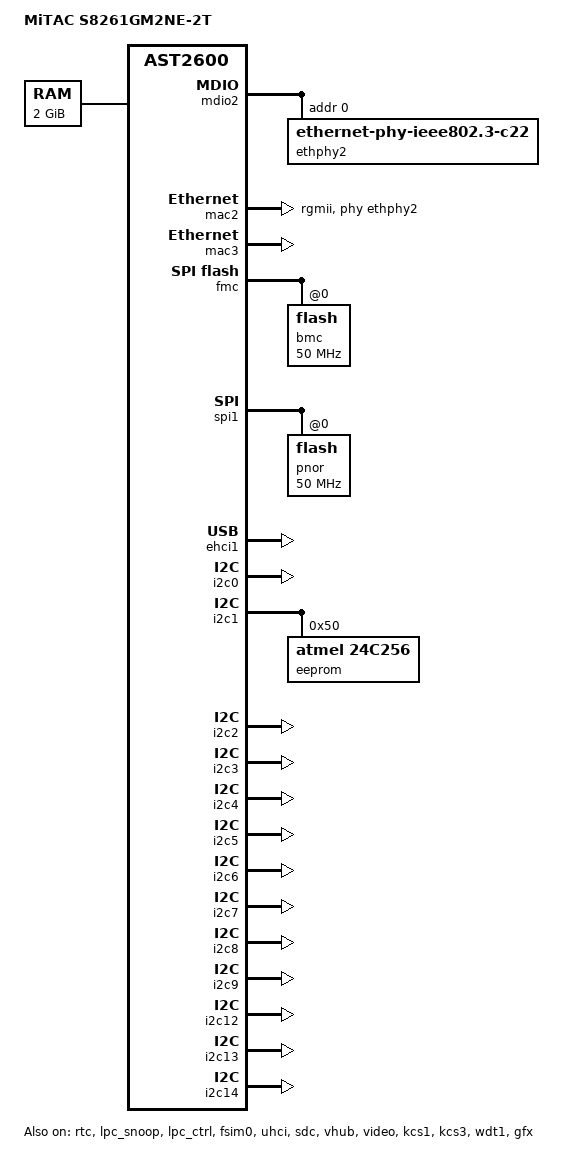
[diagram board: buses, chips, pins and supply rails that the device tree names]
// SPDX-License-Identifier: GPL-2.0-or-later
// Copyright 2019 IBM Corp.

/dts-v1/;

#include "aspeed-g6.dtsi"
#include <dt-bindings/gpio/aspeed-gpio.h>

/ {
	model = "MiTAC S8261GM2NE-2T";
	compatible = "aspeed,ast2600-evb", "aspeed,ast2600";

	aliases {
		serial4 = &uart5;
	};

	chosen {
		bootargs = "console=ttyS4,115200n8";
	};

	memory@80000000 {
		device_type = "memory";
		reg = <0x80000000 0x80000000>;
	};

	reserved-memory {
		#address-cells = <1>;
		#size-cells = <1>;
		ranges;

		video_engine_memory: video {
			size = <0x04000000>;
			alignment = <0x01000000>;
			compatible = "shared-dma-pool";
			reusable;
		};

		gfx_memory: framebuffer {
			size = <0x01000000>;
			alignment = <0x01000000>;
			compatible = "shared-dma-pool";
			reusable;
		};
	};
};

&mdio2 {
	status = "okay";

	ethphy2: ethernet-phy@2 {
		compatible = "ethernet-phy-ieee802.3-c22";
		reg = <0>;
	};
};

&mac2 {
	status = "okay";

	phy-mode = "rgmii";
	phy-handle = <&ethphy2>;

	pinctrl-names = "default";
	pinctrl-0 = <&pinctrl_rgmii3_default>;
};

&mac3 {
        status = "okay";
        pinctrl-names = "default";
        pinctrl-0 = <&pinctrl_rmii4_default>;
	clock-names = "MACCLK", "RCLK";
        use-ncsi;
};


&rtc {
	status = "okay";
};

&fmc {
	status = "okay";
	flash@0 {
		status = "okay";
		m25p,fast-read;
		label = "bmc";
		spi-rx-bus-width = <4>;
		spi-max-frequency = <50000000>;
#include "openbmc-flash-layout-64.dtsi"
	};
};

&spi1 {
	status = "okay";
	pinctrl-names = "default";
	pinctrl-0 = <&pinctrl_spi1_default>;

	flash@0 {
		status = "okay";
		m25p,fast-read;
		label = "pnor";
		spi-rx-bus-width = <1>;
		spi-max-frequency = <50000000>;
	};
};

&uart5 {
	// Workaround for A0
	compatible = "snps,dw-apb-uart";
};

&lpc_snoop {
	status = "okay";
	snoop-ports = <0x80>, <0x81>;
};

&lpc_ctrl {
	//Enable lpc clock
	status = "okay";
};

/*
&lpc_pcc {
	rec-mode = <0x1>;
	port-addr = <0x80>;
	port-addr-hbits-select = <0x1>;
	port-addr-xbits = <0x1>;
	status = "okay";
};
*/

&fsim0 {
	status = "okay";
};

&ehci1 {
	status = "okay";
};

&uhci {
	status = "okay";
};

&sdc {
	status = "okay";
};

&vhub {
	status = "okay";
	pinctrl-names = "default";
};

&video {
	status = "okay";
	memory-region = <&video_engine_memory>;
};

&kcs1 {
	status = "okay";
	aspeed,lpc-io-reg = <0xca8>;
};

&kcs3 {
	status = "okay";
	aspeed,lpc-io-reg = <0xca2>;
	aspeed,lpc-interrupts = <1 IRQ_TYPE_LEVEL_HIGH>;
};

&wdt1 {
        status = "okay";
        pinctrl-names = "default";
        pinctrl-0 = <&pinctrl_wdtrst1_default>;
        aspeed,reset-type = "soc";
        aspeed,external-signal;
        aspeed,ext-push-pull;
        aspeed,ext-active-high;
        aspeed,ext-pulse-duration = <256>;
};

&i2c0 {
	status = "okay";
};
&i2c1 {
	status = "okay";
	// MB FRU
	eeprom@50 {
		compatible = "atmel,24c256";
		reg = <0x50>;
	};

};
&i2c2 {
	status = "okay";
};
&i2c3 {
	status = "okay";
};
&i2c4 {
	status = "okay";
};
&i2c5 {
	status = "okay";
};
&i2c6 {
	status = "okay";
};
&i2c7 {
	status = "okay";
};
&i2c8 {
	status = "okay";
};
&i2c9 {
	status = "okay";
};

/* M24 MDC3
&i2c10 {
	status = "okay";
};
*/

&i2c12 {
	status = "okay";
};
&i2c13 {
	status = "okay";
};
&i2c14 {
	status = "okay";
};

&gpio0 {
	gpio-line-names =
	/*A0-A7*/	"gpio-a0","","","","","","","",
	/*B0-B7*/	"gpio-b0","chassis-power-good","","","","","","",
	/*C0-C7*/	"gpio-c0","","","",
			"","","","",
	/*D0-D7*/	"gpio-d0","","","",
			"","","","",
	/*E0-E7*/	"gpio-e0","","","","","","","",
	/*F0-F7*/	"gpio-f0","","",
			"","","",
			"","",
	/*G0-G7*/	"identify-led","","","",
			"","spi-mux-bios","","bmc-ready",
	/*H0-H7*/	"gpio-h0","","",
			"","","","","",
	/*I0-I7*/	"gpio-i0","","","","","","","",
	/*J0-J7*/	"gpio-j0","","","","","","","",
	/*K0-K7*/	"gpio-k0","","","","","","","",
	/*L0-L7*/	"gpio-l0","","","","","","","",
	/*M0-M7*/	"gpio-00","","","",
			"","","","",
	/*N0-N7*/	"gpio-n0","nmi-control","","",
			"","","","",
	/*O0-O7*/	"gpio-o0","","","","","","","",
	/*P0-P7*/	"reset-button","reset-control","power-button","power-control",
			"nmi-button","","","",
	/*Q0-Q7*/	"gpio-q0","","","","","","","",
	/*R0-R7*/	"gpio-r0","","","","","","","",
	/*S0-S7*/	"gpio-s0","","","",
			"","","","",
	/*T0-T7*/	"gpio-t0","","","","","","","",
	/*U0-U7*/	"gpio-u0","","","","","","","",
	/*V0-V7*/	"gpio-v0","","",
			"","","",
			"","",
	/*W0-W7*/	"gpio-w0","","","",
			"","","","",
	/*X0-X7*/	"gpio-x0","cpu0-thermtrip",
			"cpu1-thermtrip","",
			"","",
			"","",
	/*Y0-Y7*/	"gpio-y0","bios-post-complete","","","","","","",
	/*Z0-Z7*/	"gpio-z0","","","","","","","";
};

&gpio1 {
	gpio-line-names =
	/*18A0-18A7*/	"","","identify-button","",
			"","","","",
	/*18B0-18B7*/	"","","","","","","","",
	/*18C0-18C7*/	"","","","",
			"","","","",
	/*18D0-18D7*/	"","","","","","","","",
	/*18E0-18E3*/	"","","","";
};

&gfx {
	status = "okay";
	memory-region = <&gfx_memory>;
};
